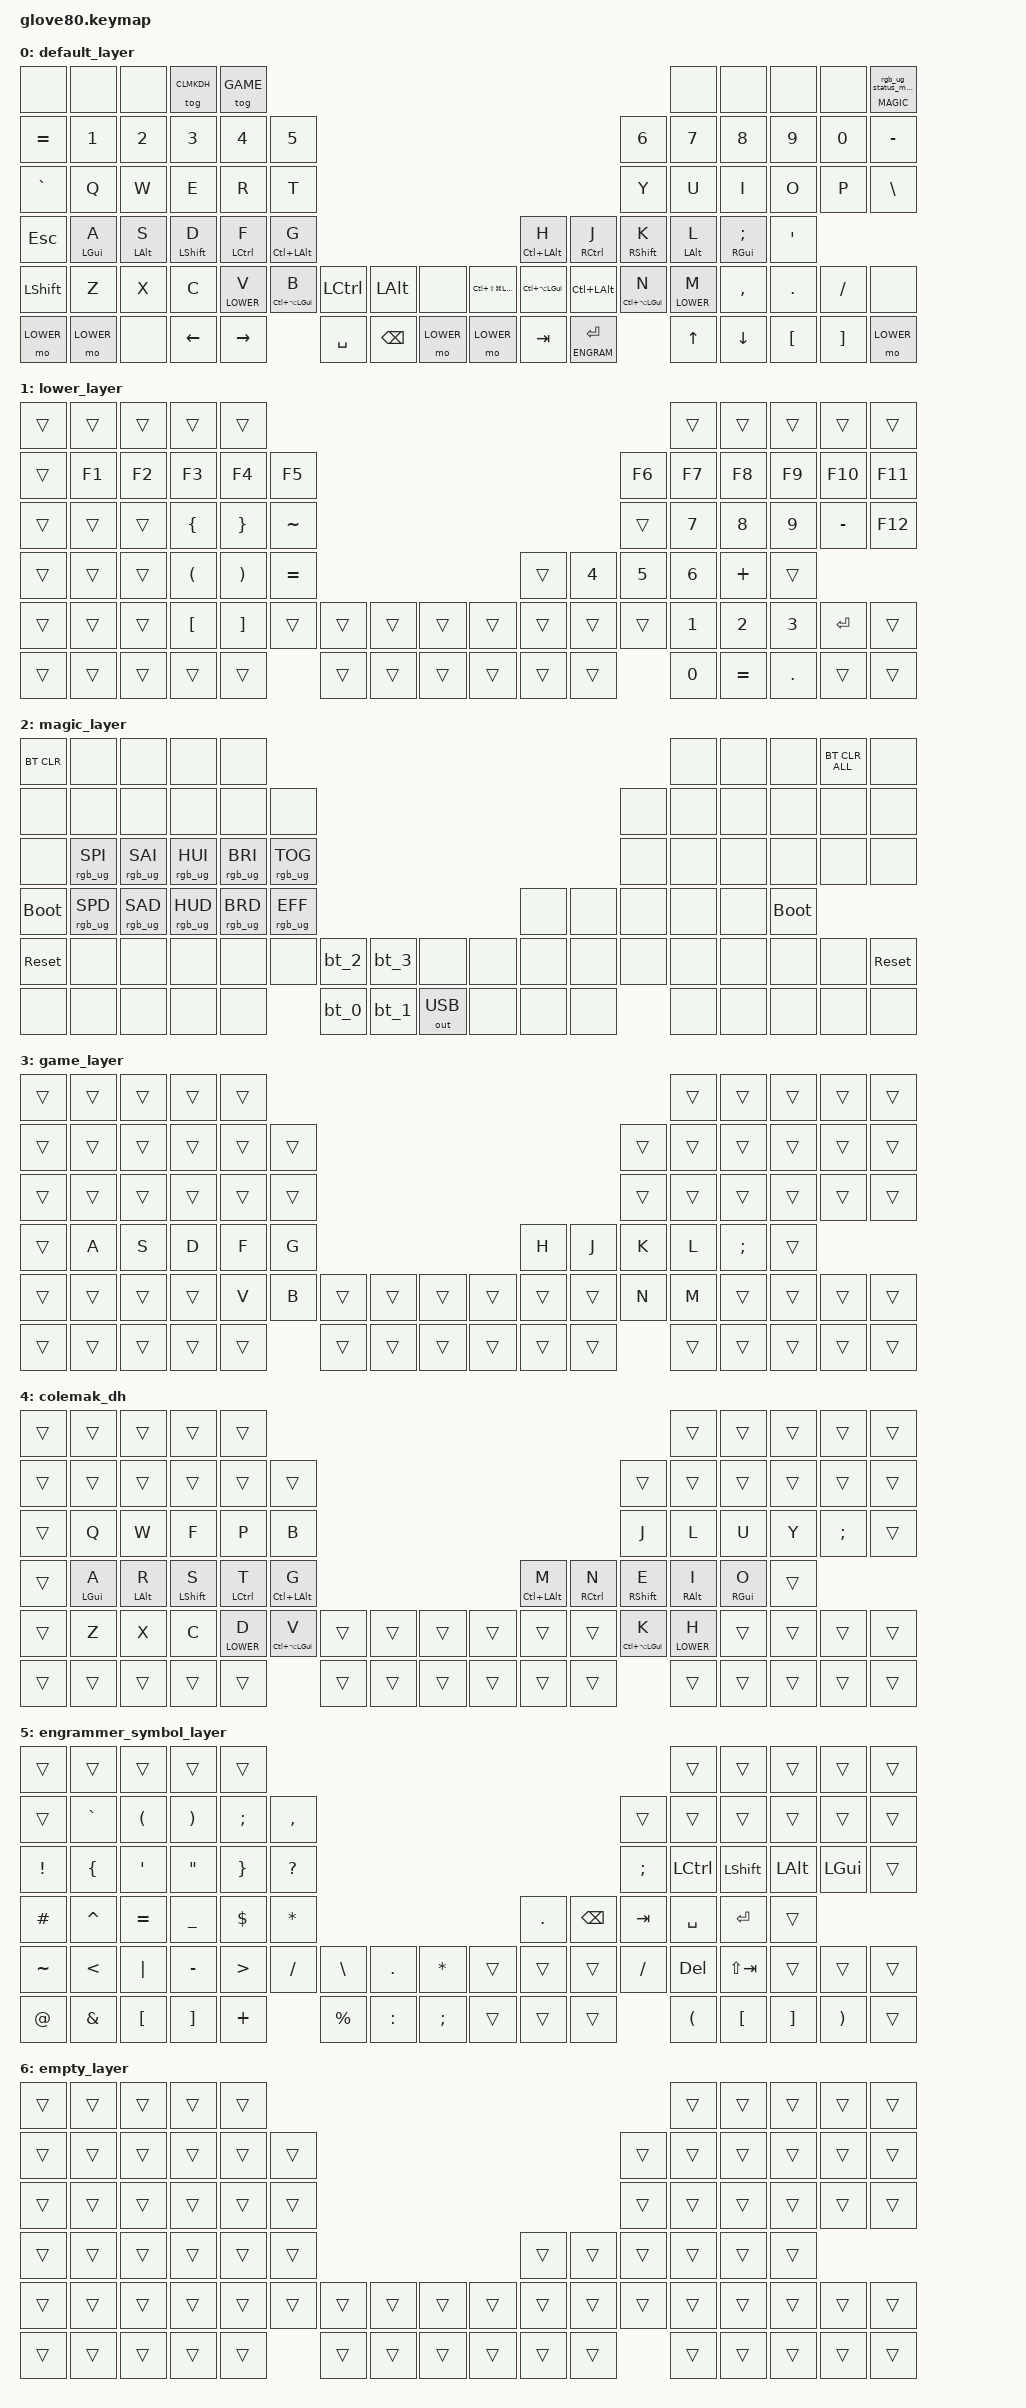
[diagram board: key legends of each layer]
/*
 * Copyright (c) 2020 The ZMK Contributors
 *
 * SPDX-License-Identifier: MIT
 */

/*                               GLOVE80 KEY MATRIX / LAYOUT MAPPING
 ╭────────────────────╮       ╭────────────────────╮ ╭────────────────────╮       ╭────────────────────╮
 │  0   1   2   3   4 ╰───┬───╯  5   6   7   8   9 │ │ LC5 LC4 LC3 LC2 LC1╰───┬───╯ RC1 RC2 RC3 RC4 RC5│
 │ 10  11  12  13  14  15 │ 16  17  18  19  20  21 │ │ LN5 LN4 LN3 LN2 LN1 LN0│ RN0 RN1 RN2 RN3 RN4 RN5│
 │ 22  23  24  25  26  27 │ 28  29  30  31  32  33 │ │ LT5 LT4 LT3 LT2 LT1 LT0│ RT0 RT1 RT2 RT3 RT4 RT5│
 │ 34  35  36  37  38  39 │ 40  41  42  43  44  45 │ │ LM5 LM4 LM3 LM2 LM1 LM0│ RM0 RM1 RM2 RM3 RM4 RM5│
 │ 46  47  48  49  50  51 │ 58  59  60  61  62  63 │ │ LB5 LB4 LB3 LB2 LB1 LB0│ RB0 RB1 RB2 RB3 RB4 RB5│
 │ 64  65  66  67  68 ╭───┴───╮ 75  76  77  78  79 │ │ LF5 LF4 LF3 LF2 LF1╭───┴───╮ RF1 RF2 RF3 RF4 RF5│
 ╰───────────┬────────┴───┬───┴────────┬───────────╯ ╰───────────┬────────┴───┬───┴────────┬───────────╯
             │ 52  53  54 │ 55  56  57 │                         │ LH5 LH4 LH3│ RH3 RH4 RH5│
             │ 69  70  71 │ 72  73  74 │                         │ LH2 LH1 LH0│ RH0 RH1 RH2│
             ╰────────────┴────────────╯                         ╰────────────┴────────────╯
 */

#include <behaviors.dtsi>
#include <dt-bindings/zmk/keys.h>
#include <dt-bindings/zmk/bt.h>
#include <dt-bindings/zmk/ext_power.h>
#include <dt-bindings/zmk/outputs.h>
#include <dt-bindings/zmk/rgb.h>

/* #include "../zmk-helpers/include/zmk-helpers/helper.h" */
/* #include "../zmk-helpers/include/zmk-helpers/key-labels/glove80.h" */
#include <zmk-helpers/helper.h>
#include <zmk-helpers/key-labels/glove80.h>
/* #include "../zmk-nodefree-config/keypos_def/keypos_glv80.h" */
#define KEYS_L LN0 LN1 LN2 LN3 LN4 LN5 LT0 LT1 LT2 LT3 LT4 LT5 LM0 LM1 LM2 LM3 LM4 LM5 LB0 LB1 LB2 LB3 LB4 LB5 LF3 LF4
#define KEYS_R RN0 RN1 RN2 RN3 RN4 RN5 RT0 RT1 RT2 RT3 RT4 RT5 RM0 RM1 RM2 RM3 RM4 RM5 RB0 RB1 RB2 RB3 RB4 RB5 RF3 RF4
#define KEYS_T LH5 LH4 LH3 LH2 LH1 LH0 RH0 RH1 RH2 RH3 RH4 RH5

#define HM_TAPPING_TERM 250
#define HM_TAPPING_TERM_FAST 200
#define REQUIRE_IDLE_PRIOR_MS_FAST 125
#define REQUIRE_IDLE_PRIOR_MS_SLOW 175

#define HYPER LC(LS(LG(LALT)))
#define ___ &trans

// layers
#define DEFAULT 0
#define LOWER 1
#define MAGIC 2
#define GAME 3
#define CLMKDH 4
#define ENGRAM 5

/ {
    behaviors {
        // For the "layer" key, it'd nice to be able to use it as either a shift or a toggle.
        // Configure it as a tap dance, so the first tap (or hold) is a &mo and the second tap is a &to
        layer_td: tap_dance_0 {
            compatible = "zmk,behavior-tap-dance";
            label = "LAYER_TAP_DANCE";
            #binding-cells = <0>;
            tapping-term-ms = <200>;
            bindings = <&mo LOWER>, <&to LOWER>;
        };

        magic: magic_hold_tap {
            compatible = "zmk,behavior-hold-tap";
            label = "MAGIC_HOLD_TAP";
            #binding-cells = <2>;
            flavor = "tap-preferred";
            tapping-term-ms = <200>;
            bindings = <&mo>, <&rgb_ug_status_macro>;
        };

        // Further optimization using urob's timerless homerow mods method:
        // https://github.com/urob/zmk-config#timeless-homerow-mods
        hm_l: homerow_mods_left {
            compatible = "zmk,behavior-hold-tap";
            #binding-cells = <2>;
            bindings = <&kp>,  <&kp>;

            flavor = "balanced";
            tapping-term-ms = <HM_TAPPING_TERM>;
            quick-tap-ms = <175>;                // repeat on tap-into-hold
	    require-prior-idle-ms =  <REQUIRE_IDLE_PRIOR_MS_FAST>;
            hold-trigger-key-positions = <KEYS_R KEYS_T>;
            hold-trigger-on-release;             // requires PR #1423
        };

        hm_r: homerow_mods_right {
            compatible = "zmk,behavior-hold-tap";
            #binding-cells = <2>;
            bindings = <&kp>, <&kp>;

            flavor = "balanced";
            tapping-term-ms = <HM_TAPPING_TERM>;
            quick-tap-ms = <175>;
	    require-prior-idle-ms =  <REQUIRE_IDLE_PRIOR_MS_FAST>;
            hold-trigger-key-positions = <KEYS_L KEYS_T>;
            hold-trigger-on-release;             // requires PR #1423
        };


        // Positional Homerow mods for shift
        // Use faster tapping term and disable some features that may
        // cause false negatives.
        hm_shift_l: hm_shift_l {
            compatible = "zmk,behavior-hold-tap";
            #binding-cells = <2>;
            bindings = <&kp>, <&kp>;

            flavor = "balanced";
            tapping-term-ms = <HM_TAPPING_TERM_FAST>;
            quick-tap-ms = <175>;
	    require-prior-idle-ms =  <REQUIRE_IDLE_PRIOR_MS_FAST>;
            hold-trigger-key-positions = <KEYS_R KEYS_T>;
            // hold-trigger-on-release;             // requires PR #1423
        };

        hm_shift_r: hm_shift_r {
            compatible = "zmk,behavior-hold-tap";
            #binding-cells = <2>;
            bindings = <&kp>, <&kp>;

            flavor = "balanced";
            tapping-term-ms = <HM_TAPPING_TERM_FAST>;
            quick-tap-ms = <175>;
	    require-prior-idle-ms =  <REQUIRE_IDLE_PRIOR_MS_FAST>;
            hold-trigger-key-positions = <KEYS_L KEYS_T>;
            // hold-trigger-on-release;             // requires PR #1423
        };

        lt_l: layer_tap_left {
            compatible = "zmk,behavior-hold-tap";
            #binding-cells = <2>;
            bindings = <&mo>, <&kp>;
            flavor = "balanced";
            tapping-term-ms = <HM_TAPPING_TERM>;
            quick-tap-ms = <175>;
	    require-prior-idle-ms =  <REQUIRE_IDLE_PRIOR_MS_FAST>;
            hold-trigger-key-positions = <KEYS_R KEYS_T>;
            hold-trigger-on-release;             // requires PR #1423
        };

        lt_r: layer_tap_right {
            compatible = "zmk,behavior-hold-tap";
            #binding-cells = <2>;
            bindings = <&mo>, <&kp>;
            flavor = "balanced";
            tapping-term-ms = <HM_TAPPING_TERM>;
            quick-tap-ms = <175>;
	    require-prior-idle-ms =  <REQUIRE_IDLE_PRIOR_MS_FAST>;
            hold-trigger-key-positions = <KEYS_L KEYS_T>;
            hold-trigger-on-release;             // requires PR #1423
        };

	lt_t_r: layer_tap_thumb_right {
	    compatible = "zmk,behavior-hold-tap";
	    #binding-cells = <2>;
	    bindings = <&mo>, <&kp>;
	    flavor = "balanced";
	    tapping-term-ms = <HM_TAPPING_TERM>;
	    quick-tap-ms = <150>;
	    hold-trigger-on-release;
	};

	lt_t_l: layer_tap_thumb_left {
	    compatible = "zmk,behavior-hold-tap";
	    #binding-cells = <2>;
	    bindings = <&mo>, <&kp>;
	    flavor = "balanced";
	    tapping-term-ms = <HM_TAPPING_TERM>;
	    quick-tap-ms = <150>;
	    hold-trigger-on-release;
        };
    };

    macros {
        rgb_ug_status_macro: rgb_ug_status_macro_0 {
            label = "RGB_UG_STATUS";
            compatible = "zmk,behavior-macro";
            #binding-cells = <0>;
            bindings
                = <&rgb_ug RGB_STATUS>;
        };

        bt_0: bt_profile_macro_0 {
            label = "BT_0";
            compatible = "zmk,behavior-macro";
            #binding-cells = <0>;
            bindings
                = <&out OUT_BLE>,
                  <&bt BT_SEL 0>;
        };

        bt_1: bt_profile_macro_1 {
            label = "BT_1";
            compatible = "zmk,behavior-macro";
            #binding-cells = <0>;
            bindings
                = <&out OUT_BLE>,
                  <&bt BT_SEL 1>;
        };

        bt_2: bt_profile_macro_2 {
            label = "BT_2";
            compatible = "zmk,behavior-macro";
            #binding-cells = <0>;
            bindings
                = <&out OUT_BLE>,
                  <&bt BT_SEL 2>;
        };

        bt_3: bt_profile_macro_3 {
            label = "BT_3";
            compatible = "zmk,behavior-macro";
            #binding-cells = <0>;
            bindings
                = <&out OUT_BLE>,
                  <&bt BT_SEL 3>;
        };
    };

    keymap {
        compatible = "zmk,keymap";
        default_layer {
            bindings = <
// ╭────────────────────┬────────────────────┬────────────────────┬────────────────────┬────────────────────╮                                                                                                                                                                           ╭────────────────────┬────────────────────┬────────────────────┬────────────────────┬────────────────────╮
    &none                &none                &none                &tog CLMKDH          &tog GAME                                                                                                                                                                                        &none                &none                &none                &none                &magic MAGIC 0
// ├────────────────────┬────────────────────┬────────────────────┬────────────────────┬────────────────────┼────────────────────╮                                                                                                                                 ╭────────────────────┼────────────────────┬────────────────────┬────────────────────┬────────────────────┬────────────────────┤
    &kp EQUAL            &kp N1               &kp N2               &kp N3               &kp N4               &kp N5                                                                                                                                                 &kp N6               &kp N7               &kp N8               &kp N9               &kp N0               &kp MINUS
// ├────────────────────┼────────────────────┼────────────────────┼────────────────────┼────────────────────┼────────────────────┤                                                                                                                                 ├────────────────────┼────────────────────┼────────────────────┼────────────────────┼────────────────────┼────────────────────┤
    &kp GRAVE            &kp Q                &kp W                &kp E                &kp R                &kp T                                                                                                                                                  &kp Y                &kp U                &kp I                &kp O                &kp P                &kp BSLH
// ├────────────────────┼────────────────────┼────────────────────┼────────────────────┼────────────────────┼────────────────────┤							 									   ├────────────────────┼────────────────────┼────────────────────┼────────────────────┼────────────────────┼────────────────────┤
    &kp ESC              &hm_l LGUI A         &hm_l LALT S         &hm_shift_l LSHFT D  &hm_l LCTRL F        &hm_l LC(LALT) G  								                            						    &hm_r LC(LALT) H     &hm_r RCTRL J        &hm_shift_r RSHFT K  &hm_r LALT L         &hm_r RGUI SEMI      &kp SQT
// ├────────────────────┼────────────────────┼────────────────────┼────────────────────┼────────────────────┴────────────────────┤╭────────────────────┬────────────────────┬────────────────────╮ ╭────────────────────┬────────────────────┬────────────────────╮├────────────────────┼────────────────────┼────────────────────┼────────────────────┼────────────────────┼────────────────────┤
    &kp LSHFT            &kp Z                &kp X                &kp C                &lt_l LOWER V        &hm_l LC(LA(LGUI)) B  &kp LCTRL            &kp LALT             &none                  &kp HYPER            &kp LC(LA(LGUI))     &kp LC(LALT)          &hm_r LC(LA(LGUI)) N &lt_r LOWER M        &kp COMMA            &kp DOT              &kp FSLH             &none
// ├────────────────────┼────────────────────┼────────────────────┼────────────────────┼────────────────────┼────────────────────╯├────────────────────┼────────────────────┼────────────────────┤ ├────────────────────┼────────────────────┼────────────────────┤╰────────────────────┼────────────────────┼────────────────────┼────────────────────┼────────────────────┼────────────────────┤
    &mo LOWER            &mo LOWER            &none                &kp LEFT             &kp RIGHT                                  &kp SPACE            &kp BSPC             &mo LOWER              &mo LOWER            &kp TAB              &lt_t_r ENGRAM ENTER                       &kp UP               &kp DOWN             &kp LBKT             &kp RBKT             &mo LOWER
// ╰────────────────────┴────────────────────┴────────────────────┴────────────────────┴────────────────────╯                     ╰────────────────────┴────────────────────┴────────────────────╯ ╰────────────────────┴────────────────────┴────────────────────╯                     ╰────────────────────┴────────────────────┴────────────────────┴────────────────────┴────────────────────╯
            >;
        };

        lower_layer {
            bindings = <
// ╭────────────────────┬────────────────────┬────────────────────┬────────────────────┬────────────────────╮                                                                                                                                                                           ╭────────────────────┬────────────────────┬────────────────────┬────────────────────┬────────────────────╮
    ___                  ___                  ___                  ___                  ___                                                                                                                                                                                              ___                  ___                  ___                  ___                  ___
// ├────────────────────┬────────────────────┬────────────────────┬────────────────────┬────────────────────┼────────────────────╮                                                                                                                                 ╭────────────────────┼────────────────────┬────────────────────┬────────────────────┬────────────────────┬────────────────────┤
    ___                  &kp F1               &kp F2               &kp F3               &kp F4               &kp F5                                                                                                                                                 &kp F6               &kp F7               &kp F8               &kp F9               &kp F10              &kp F11            
// ├────────────────────┼────────────────────┼────────────────────┼────────────────────┼────────────────────┼────────────────────┤                                                                                                                                 ├────────────────────┼────────────────────┼────────────────────┼────────────────────┼────────────────────┼────────────────────┤
    ___                  ___                  ___                  &kp LBRC             &kp RBRC             &kp TILDE                                                                                                                                              ___                  &kp N7               &kp N8               &kp N9               &kp MINUS            &kp F12            
// ├────────────────────┼────────────────────┼────────────────────┼────────────────────┼────────────────────┼────────────────────┤							 									   ├────────────────────┼────────────────────┼────────────────────┼────────────────────┼────────────────────┼────────────────────┤
    ___                  ___                  ___                  &kp LPAR             &kp RPAR             &kp EQUAL               							                            						    ___                  &kp N4               &kp N5               &kp N6               &kp PLUS             ___                
// ├────────────────────┼────────────────────┼────────────────────┼────────────────────┼────────────────────┴────────────────────┤╭────────────────────┬────────────────────┬────────────────────╮ ╭────────────────────┬────────────────────┬────────────────────╮├────────────────────┼────────────────────┼────────────────────┼────────────────────┼────────────────────┼────────────────────┤
    ___                  ___                  ___                  &kp LBKT             &kp RBKT             ___                   ___                  ___                  ___                    ___                  ___                  ___                   ___                  &kp N1               &kp N2               &kp N3               &kp ENTER            ___                
// ├────────────────────┼────────────────────┼────────────────────┼────────────────────┼────────────────────┼────────────────────╯├────────────────────┼────────────────────┼────────────────────┤ ├────────────────────┼────────────────────┼────────────────────┤╰────────────────────┼────────────────────┼────────────────────┼────────────────────┼────────────────────┼────────────────────┤
    ___                  ___                  ___                  ___                  ___                                        ___                  ___                  ___                    ___                  ___                  ___                                        &kp N0               &kp EQUAL            &kp DOT              ___                  ___      
// ╰────────────────────┴────────────────────┴────────────────────┴────────────────────┴────────────────────╯                     ╰────────────────────┴────────────────────┴────────────────────╯ ╰────────────────────┴────────────────────┴────────────────────╯                     ╰────────────────────┴────────────────────┴────────────────────┴────────────────────┴────────────────────╯
            >;
        };

magic_layer {
            bindings = <
            &bt BT_CLR        &none               &none           &none           &none                                                                                                           &none      &none      &none  &bt BT_CLR_ALL &none
            &none             &none               &none           &none           &none           &none                                                                                &none      &none      &none      &none      &none      &none
            &none             &rgb_ug RGB_SPI     &rgb_ug RGB_SAI &rgb_ug RGB_HUI &rgb_ug RGB_BRI &rgb_ug RGB_TOG                                                                      &none      &none      &none      &none      &none      &none
            &bootloader       &rgb_ug RGB_SPD     &rgb_ug RGB_SAD &rgb_ug RGB_HUD &rgb_ug RGB_BRD &rgb_ug RGB_EFF                                                                      &none      &none      &none      &none      &none      &bootloader
            &sys_reset        &none               &none           &none           &none           &none           &bt_2     &bt_3     &none            &none     &none     &none       &none      &none      &none      &none      &none      &sys_reset
            &none             &none               &none           &none           &none                           &bt_0     &bt_1     &out OUT_USB     &none     &none     &none                  &none      &none      &none      &none      &none
            >;
        };

        game_layer {
            bindings = <
// ╭────────────────────┬────────────────────┬────────────────────┬────────────────────┬────────────────────╮                                                                                                                                                                           ╭────────────────────┬────────────────────┬────────────────────┬────────────────────┬────────────────────╮
    ___                  ___                  ___                  ___                  ___                                                                                                                                                                                              ___                  ___                  ___                  ___                  ___
// ├────────────────────┬────────────────────┬────────────────────┬────────────────────┬────────────────────┼────────────────────╮                                                                                                                                 ╭────────────────────┼────────────────────┬────────────────────┬────────────────────┬────────────────────┬────────────────────┤
    ___                  ___                  ___                  ___                  ___                  ___                                                                                                                                                    ___                  ___                  ___                  ___                  ___                  ___                
// ├────────────────────┼────────────────────┼────────────────────┼────────────────────┼────────────────────┼────────────────────┤                                                                                                                                 ├────────────────────┼────────────────────┼────────────────────┼────────────────────┼────────────────────┼────────────────────┤
    ___                  ___                  ___                  ___                  ___                  ___                                                                                                                                                    ___                  ___                  ___                  ___                  ___                  ___                
// ├────────────────────┼────────────────────┼────────────────────┼────────────────────┼────────────────────┼────────────────────┤							 									   ├────────────────────┼────────────────────┼────────────────────┼────────────────────┼────────────────────┼────────────────────┤
    ___                  &kp A                &kp S                &kp D                &kp F                &kp G                   							                            						    &kp H                &kp J                &kp K                &kp L                &kp SEMI             ___                
// ├────────────────────┼────────────────────┼────────────────────┼────────────────────┼────────────────────┴────────────────────┤╭────────────────────┬────────────────────┬────────────────────╮ ╭────────────────────┬────────────────────┬────────────────────╮├────────────────────┼────────────────────┼────────────────────┼────────────────────┼────────────────────┼────────────────────┤
    ___                  ___                  ___                  ___                  &kp V                &kp B                 ___                  ___                  ___                    ___                  ___                  ___                   &kp N                &kp M                ___                  ___                  ___                  ___                
// ├────────────────────┼────────────────────┼────────────────────┼────────────────────┼────────────────────┼────────────────────╯├────────────────────┼────────────────────┼────────────────────┤ ├────────────────────┼────────────────────┼────────────────────┤╰────────────────────┼────────────────────┼────────────────────┼────────────────────┼────────────────────┼────────────────────┤
    ___                  ___                  ___                  ___                  ___                                        ___                  ___                  ___                    ___                  ___                  ___                                        ___                  ___                  ___                  ___                  ___      
// ╰────────────────────┴────────────────────┴────────────────────┴────────────────────┴────────────────────╯                     ╰────────────────────┴────────────────────┴────────────────────╯ ╰────────────────────┴────────────────────┴────────────────────╯                     ╰────────────────────┴────────────────────┴────────────────────┴────────────────────┴────────────────────╯
            >;
        };

// COLEMAK-DH BABY
        colemak_dh {
            bindings = <
// ╭────────────────────┬────────────────────┬────────────────────┬────────────────────┬────────────────────╮                                                                                                                                                                           ╭────────────────────┬────────────────────┬────────────────────┬────────────────────┬────────────────────╮
    ___                  ___                  ___                  ___                  ___                                                                                                                                                                                              ___                  ___                  ___                  ___                  ___
// ├────────────────────┬────────────────────┬────────────────────┬────────────────────┬────────────────────┼────────────────────╮                                                                                                                                 ╭────────────────────┼────────────────────┬────────────────────┬────────────────────┬────────────────────┬────────────────────┤
    ___                  ___                  ___                  ___                  ___                  ___                                                                                                                                                    ___                  ___                  ___                  ___                  ___                  ___                
// ├────────────────────┼────────────────────┼────────────────────┼────────────────────┼────────────────────┼────────────────────┤                                                                                                                                 ├────────────────────┼────────────────────┼────────────────────┼────────────────────┼────────────────────┼────────────────────┤
    ___                  &kp Q                &kp W                &kp F                &kp P                &kp B                                                                                                                                                  &kp J                &kp L                &kp U                &kp Y                &kp SEMI             ___                
// ├────────────────────┼────────────────────┼────────────────────┼────────────────────┼────────────────────┼────────────────────┤							 									   ├────────────────────┼────────────────────┼────────────────────┼────────────────────┼────────────────────┼────────────────────┤
    ___                  &hm_l LGUI A         &hm_l LALT R         &hm_shift_l LSHFT S  &hm_l LCTRL T        &hm_l LC(LALT) G        							                            						    &hm_r LC(LALT) M     &hm_r RCTRL N        &hm_shift_r RSHFT E  &hm_r RALT I         &hm_r RGUI O         ___                
// ├────────────────────┼────────────────────┼────────────────────┼────────────────────┼────────────────────┴────────────────────┤╭────────────────────┬────────────────────┬────────────────────╮ ╭────────────────────┬────────────────────┬────────────────────╮├────────────────────┼────────────────────┼────────────────────┼────────────────────┼────────────────────┼────────────────────┤
    ___                  &kp Z                &kp X                &kp C                &lt_l LOWER D        &hm_l LC(LA(LGUI)) V  ___                  ___                  ___                    ___                  ___                  ___                   &hm_r LC(LA(LGUI)) K &lt_r LOWER H        ___                  ___                  ___                  ___                
// ├────────────────────┼────────────────────┼────────────────────┼────────────────────┼────────────────────┼────────────────────╯├────────────────────┼────────────────────┼────────────────────┤ ├────────────────────┼────────────────────┼────────────────────┤╰────────────────────┼────────────────────┼────────────────────┼────────────────────┼────────────────────┼────────────────────┤
    ___                  ___                  ___                  ___                  ___                                        ___                  ___                  ___                    ___                  ___                  ___                                        ___                  ___                  ___                  ___                  ___      
// ╰────────────────────┴────────────────────┴────────────────────┴────────────────────┴────────────────────╯                     ╰────────────────────┴────────────────────┴────────────────────╯ ╰────────────────────┴────────────────────┴────────────────────╯                     ╰────────────────────┴────────────────────┴────────────────────┴────────────────────┴────────────────────╯
            >;
        };

        engrammer_symbol_layer {
            bindings = <
// ╭────────────────────┬────────────────────┬────────────────────┬────────────────────┬────────────────────╮                                                                                                                                                                           ╭────────────────────┬────────────────────┬────────────────────┬────────────────────┬────────────────────╮
    ___                  ___                  ___                  ___                  ___                                                                                                                                                                                              ___                  ___                  ___                  ___                  ___
// ├────────────────────┬────────────────────┬────────────────────┬────────────────────┬────────────────────┼────────────────────╮                                                                                                                                 ╭────────────────────┼────────────────────┬────────────────────┬────────────────────┬────────────────────┬────────────────────┤
    ___                  &kp GRAVE            &kp LPAR             &kp RPAR             &kp SEMI             &kp COMMA                                                                                                                                              ___                  ___                  ___                  ___                  ___                  ___                
// ├────────────────────┼────────────────────┼────────────────────┼────────────────────┼────────────────────┼────────────────────┤                                                                                                                                 ├────────────────────┼────────────────────┼────────────────────┼────────────────────┼────────────────────┼────────────────────┤
    &kp EXCLAMATION      &kp LBRC             &kp SINGLE_QUOTE     &kp DOUBLE_QUOTES    &kp RBRC             &kp QUESTION                                                                                                                                           &kp SEMI             &kp LCTRL            &kp LSHIFT           &kp LALT             &kp LGUI              ___                
// ├────────────────────┼────────────────────┼────────────────────┼────────────────────┼────────────────────┼────────────────────┤							 									   ├────────────────────┼────────────────────┼────────────────────┼────────────────────┼────────────────────┼────────────────────┤
    &kp HASH             &kp CARET            &kp EQUAL            &kp UNDERSCORE       &kp DOLLAR           &kp STAR                							                            						    &kp DOT              &kp BACKSPACE        &kp TAB              &kp SPACE            &kp ENTER            ___                
// ├────────────────────┼────────────────────┼────────────────────┼────────────────────┼────────────────────┴────────────────────┤╭────────────────────┬────────────────────┬────────────────────╮ ╭────────────────────┬────────────────────┬────────────────────╮├────────────────────┼────────────────────┼────────────────────┼────────────────────┼────────────────────┼────────────────────┤
    &kp TILDE            &kp LESS_THAN        &kp PIPE             &kp MINUS            &kp GREATER_THAN     &kp SLASH             &kp BACKSLASH        &kp DOT              &kp STAR               ___                  ___                  ___                   &kp SLASH            &kp DELETE           &kp LS(TAB)          ___                  ___                  ___                
// ├────────────────────┼────────────────────┼────────────────────┼────────────────────┼────────────────────┼────────────────────╯├────────────────────┼────────────────────┼────────────────────┤ ├────────────────────┼────────────────────┼────────────────────┤╰────────────────────┼────────────────────┼────────────────────┼────────────────────┼────────────────────┼────────────────────┤
    &kp AT               &kp AMPS             &kp LBKT             &kp RBKT             &kp PLUS                                   &kp PERCENT          &kp COLON            &kp SEMICOLON          ___                  ___                  ___                                        &kp LPAR             &kp LBKT             &kp RBKT             &kp RPAR             ___      
// ╰────────────────────┴────────────────────┴────────────────────┴────────────────────┴────────────────────╯                     ╰────────────────────┴────────────────────┴────────────────────╯ ╰────────────────────┴────────────────────┴────────────────────╯                     ╰────────────────────┴────────────────────┴────────────────────┴────────────────────┴────────────────────╯
            >;
        };

        empty_layer {
            bindings = <
// ╭────────────────────┬────────────────────┬────────────────────┬────────────────────┬────────────────────╮                                                                                                                                                                           ╭────────────────────┬────────────────────┬────────────────────┬────────────────────┬────────────────────╮
    ___                  ___                  ___                  ___                  ___                                                                                                                                                                                              ___                  ___                  ___                  ___                  ___
// ├────────────────────┬────────────────────┬────────────────────┬────────────────────┬────────────────────┼────────────────────╮                                                                                                                                 ╭────────────────────┼────────────────────┬────────────────────┬────────────────────┬────────────────────┬────────────────────┤
    ___                  ___                  ___                  ___                  ___                  ___                                                                                                                                                    ___                  ___                  ___                  ___                  ___                  ___                
// ├────────────────────┼────────────────────┼────────────────────┼────────────────────┼────────────────────┼────────────────────┤                                                                                                                                 ├────────────────────┼────────────────────┼────────────────────┼────────────────────┼────────────────────┼────────────────────┤
    ___                  ___                  ___                  ___                  ___                  ___                                                                                                                                                    ___                  ___                  ___                  ___                  ___                  ___                
// ├────────────────────┼────────────────────┼────────────────────┼────────────────────┼────────────────────┼────────────────────┤							 									   ├────────────────────┼────────────────────┼────────────────────┼────────────────────┼────────────────────┼────────────────────┤
    ___                  ___                  ___                  ___                  ___                  ___                     							                            						    ___                  ___                  ___                  ___                  ___                  ___                
// ├────────────────────┼────────────────────┼────────────────────┼────────────────────┼────────────────────┴────────────────────┤╭────────────────────┬────────────────────┬────────────────────╮ ╭────────────────────┬────────────────────┬────────────────────╮├────────────────────┼────────────────────┼────────────────────┼────────────────────┼────────────────────┼────────────────────┤
    ___                  ___                  ___                  ___                  ___                  ___                   ___                  ___                  ___                    ___                  ___                  ___                   ___                  ___                  ___                  ___                  ___                  ___                
// ├────────────────────┼────────────────────┼────────────────────┼────────────────────┼────────────────────┼────────────────────╯├────────────────────┼────────────────────┼────────────────────┤ ├────────────────────┼────────────────────┼────────────────────┤╰────────────────────┼────────────────────┼────────────────────┼────────────────────┼────────────────────┼────────────────────┤
    ___                  ___                  ___                  ___                  ___                                        ___                  ___                  ___                    ___                  ___                  ___                                        ___                  ___                  ___                  ___                  ___      
// ╰────────────────────┴────────────────────┴────────────────────┴────────────────────┴────────────────────╯                     ╰────────────────────┴────────────────────┴────────────────────╯ ╰────────────────────┴────────────────────┴────────────────────╯                     ╰────────────────────┴────────────────────┴────────────────────┴────────────────────┴────────────────────╯
            >;
        };

    };
};
